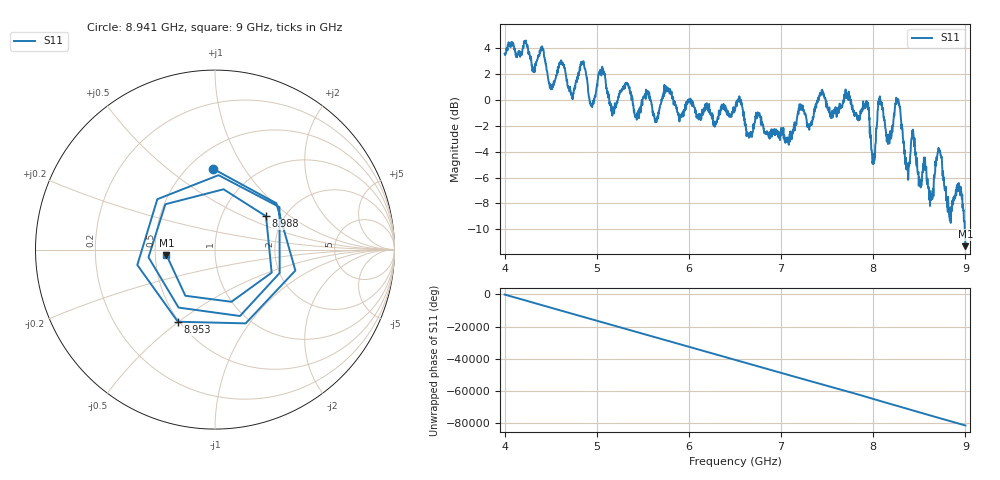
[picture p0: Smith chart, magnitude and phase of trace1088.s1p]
! Created with skrf 1.8.0 (http://scikit-rf.org).
# Hz S RI R 50.0
!freq ReS11 ImS11
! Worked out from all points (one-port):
!   1601 points, 4 GHz to 9 GHz, reference 50 ohm
!   lowest |S11| = -11.3 dB at 9 GHz (marker M1), VSWR 1.75, Z = 28.6 - j1.82 ohm
!   |S11| at or under -10 dB: 8.993017 GHz to end of sweep
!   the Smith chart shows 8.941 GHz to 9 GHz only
!   S11 on the Smith chart (normalised r, x): 8.941 GHz: 0.65, +0.74; 8.953 GHz: 0.49, -0.50; 8.988 GHz: 1.62, +0.68; 9 GHz: 0.57, -0.04
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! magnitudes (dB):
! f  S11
! 4 GHz  3.6
! 4.406 GHz  4.1
! 4.506 GHz  0.8
! 4.625 GHz  2.9
! 4.725 GHz  0.4
! 4.841 GHz  2.9
! 4.941 GHz  -0.4
! 5.05 GHz  1.9
! 5.162 GHz  -0.9
! 5.25 GHz  0.7
! 5.875 GHz  -0.9
! 6.5 GHz  -0.8
! 7.125 GHz  -2.6
! 7.75 GHz  0.0
! 7.928 GHz  -0.1
! 8.003 GHz  -4.9
! 8.072 GHz  0.3
! 8.172 GHz  -2.9
! 8.266 GHz  -0.2
! 8.375 GHz  -5.3
! 8.434 GHz  -2.5
! 8.622 GHz  -7.8
! 8.719 GHz  -4.0
! 8.828 GHz  -9.0
! 8.941 GHz  -6.9
! 8.953 GHz  -6.9
! 8.988 GHz  -9.4
! 9 GHz  -11.3
